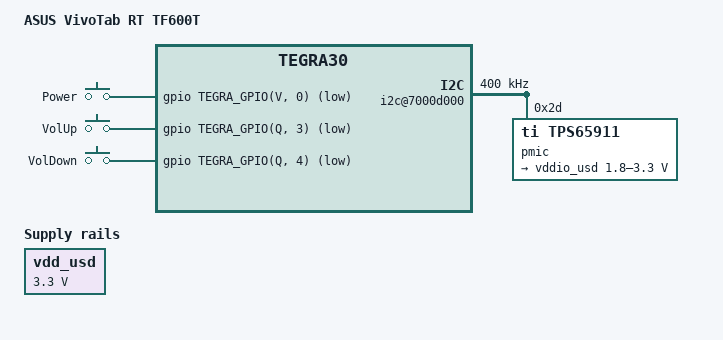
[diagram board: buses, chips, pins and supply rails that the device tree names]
// SPDX-License-Identifier: GPL-2.0-or-later
/dts-v1/;

#include <dt-bindings/input/gpio-keys.h>
#include <dt-bindings/input/linux-event-codes.h>

#include "tegra30-asus-transformer.dtsi"

/ {
	model = "ASUS VivoTab RT TF600T";

	i2c@7000d000 {
		status = "okay";
		clock-frequency = <400000>;

		/* Texas Instruments TPS659110 PMIC */
		pmic: tps65911@2d {
			compatible = "ti,tps65911";
			reg = <0x2d>;

			interrupts = <GIC_SPI 86 IRQ_TYPE_LEVEL_HIGH>;
			#interrupt-cells = <2>;
			interrupt-controller;

			ti,system-power-controller;

			#gpio-cells = <2>;
			gpio-controller;

			regulators {
				/* uSD slot VDDIO */
				vddio_usd: ldo5 {
					regulator-name = "vddio_sdmmc";
					regulator-min-microvolt = <1800000>;
					regulator-max-microvolt = <3300000>;
					regulator-always-on;
				};
			};
		};
	};

	gpio-keys {
		compatible = "gpio-keys";
		interrupt-parent = <&gpio>;

		power {
			label = "Power";
			gpios = <&gpio TEGRA_GPIO(V, 0) GPIO_ACTIVE_LOW>;
			linux,code = <KEY_POWER>;
		};

		volume-up {
			label = "VolUp";
			gpios = <&gpio TEGRA_GPIO(Q, 3) GPIO_ACTIVE_LOW>;
			linux,code = <KEY_VOLUMEUP>;
		};

		volume-down {
			label = "VolDown";
			gpios = <&gpio TEGRA_GPIO(Q, 4) GPIO_ACTIVE_LOW>;
			linux,code = <KEY_VOLUMEDOWN>;
		};
	};

	regulators {
		compatible = "simple-bus";
		#address-cells = <1>;
		#size-cells = <0>;

		vdd_usd: regulator@0 {
			compatible = "regulator-fixed";
			reg = <0>;
			regulator-name = "vdd_usd";
			regulator-min-microvolt = <3300000>;
			regulator-max-microvolt = <3300000>;
			regulator-always-on;
		};
	};
};
